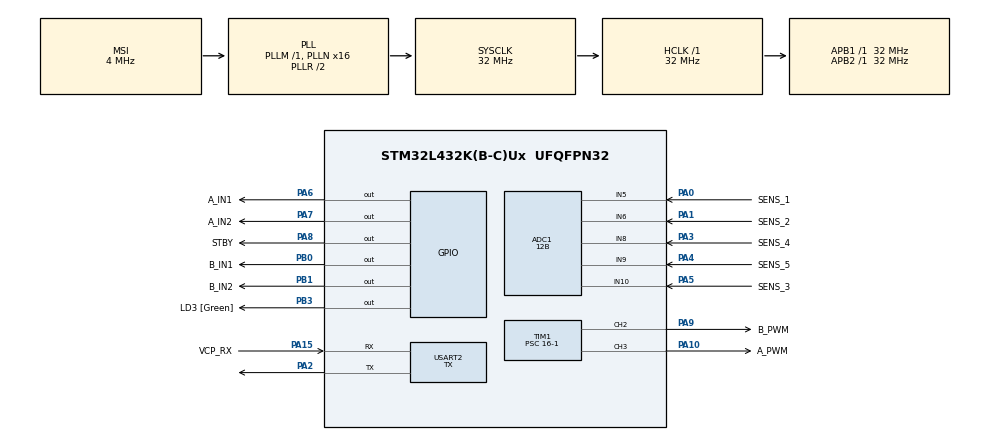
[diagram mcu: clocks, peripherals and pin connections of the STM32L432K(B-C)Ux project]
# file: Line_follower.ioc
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ADC1.Channel-10\#ChannelRegularConversion=ADC_CHANNEL_9
ADC1.Channel-2\#ChannelRegularConversion=ADC_CHANNEL_5
ADC1.Channel-3\#ChannelRegularConversion=ADC_CHANNEL_6
ADC1.Channel-8\#ChannelRegularConversion=ADC_CHANNEL_10
ADC1.Channel-9\#ChannelRegularConversion=ADC_CHANNEL_8
ADC1.ClockPrescaler=ADC_CLOCK_ASYNC_DIV8
ADC1.ContinuousConvMode=ENABLE
ADC1.DMAContinuousRequests=ENABLE
ADC1.NbrOfConversion=5
ADC1.NbrOfConversionFlag=1
ADC1.OffsetNumber-10\#ChannelRegularConversion=ADC_OFFSET_NONE
ADC1.OffsetNumber-2\#ChannelRegularConversion=ADC_OFFSET_NONE
ADC1.OffsetNumber-3\#ChannelRegularConversion=ADC_OFFSET_NONE
ADC1.OffsetNumber-8\#ChannelRegularConversion=ADC_OFFSET_NONE
ADC1.OffsetNumber-9\#ChannelRegularConversion=ADC_OFFSET_NONE
ADC1.Rank-10\#ChannelRegularConversion=5
ADC1.Rank-2\#ChannelRegularConversion=1
ADC1.Rank-3\#ChannelRegularConversion=2
ADC1.Rank-8\#ChannelRegularConversion=3
ADC1.Rank-9\#ChannelRegularConversion=4
ADC1.Resolution=ADC_RESOLUTION_12B
ADC1.SamplingTime-10\#ChannelRegularConversion=ADC_SAMPLETIME_247CYCLES_5
ADC1.SamplingTime-2\#ChannelRegularConversion=ADC_SAMPLETIME_247CYCLES_5
ADC1.SamplingTime-3\#ChannelRegularConversion=ADC_SAMPLETIME_247CYCLES_5
ADC1.SamplingTime-8\#ChannelRegularConversion=ADC_SAMPLETIME_247CYCLES_5
ADC1.SamplingTime-9\#ChannelRegularConversion=ADC_SAMPLETIME_247CYCLES_5
ADC1.master=1
Dma.ADC1.0.Direction=DMA_PERIPH_TO_MEMORY
Dma.ADC1.0.Instance=DMA1_Channel1
Dma.ADC1.0.MemDataAlignment=DMA_MDATAALIGN_HALFWORD
Dma.ADC1.0.MemInc=DMA_MINC_ENABLE
Dma.ADC1.0.Mode=DMA_CIRCULAR
Dma.ADC1.0.PeriphDataAlignment=DMA_PDATAALIGN_HALFWORD
Dma.ADC1.0.PeriphInc=DMA_PINC_DISABLE
Dma.ADC1.0.Priority=DMA_PRIORITY_LOW
Dma.Request0=ADC1
Mcu.Family=STM32L4
Mcu.Name=STM32L432K(B-C)Ux
Mcu.Package=UFQFPN32
NVIC.ADC1_IRQn=true\:0\:0\:false\:false\:true\:true\:true\:true
NVIC.DMA1_Channel1_IRQn=true\:0\:0\:false\:false\:true\:false\:true\:true
NVIC.PriorityGroup=NVIC_PRIORITYGROUP_4
NVIC.USART2_IRQn=true\:0\:0\:false\:false\:true\:true\:true\:true
PA0.GPIO_Label=SENS_1
PA0.Signal=ADCx_IN5
PA1.GPIO_Label=SENS_2
PA1.Signal=ADCx_IN6
PA10.GPIO_Label=A_PWM
PA10.Signal=S_TIM1_CH3
PA13\ (JTMS-SWDIO).GPIO_Label=SWDIO
PA13\ (JTMS-SWDIO).Mode=Serial_Wire
PA13\ (JTMS-SWDIO).Signal=SYS_JTMS-SWDIO
PA14\ (JTCK-SWCLK).GPIO_Label=SWCLK
PA14\ (JTCK-SWCLK).Mode=Serial_Wire
PA14\ (JTCK-SWCLK).Signal=SYS_JTCK-SWCLK
PA15\ (JTDI).GPIO_Label=VCP_RX
PA15\ (JTDI).Mode=Asynchronous
PA15\ (JTDI).Signal=USART2_RX
PA2.Mode=Asynchronous
PA2.Signal=USART2_TX
PA3.GPIO_Label=SENS_4
PA3.Signal=ADCx_IN8
PA4.GPIO_Label=SENS_5
PA4.Signal=ADCx_IN9
PA5.GPIO_Label=SENS_3
PA5.Signal=ADCx_IN10
PA6.GPIO_Label=A_IN1
PA6.Signal=GPIO_Output
PA7.GPIO_Label=A_IN2
PA7.Signal=GPIO_Output
PA8.GPIO_Label=STBY
PA8.Signal=GPIO_Output
PA9.GPIO_Label=B_PWM
PA9.Signal=S_TIM1_CH2
PB0.GPIO_Label=B_IN1
PB0.Signal=GPIO_Output
PB1.GPIO_Label=B_IN2
PB1.Signal=GPIO_Output
PB3\ (JTDO-TRACESWO).GPIO_Label=LD3 [Green]
PB3\ (JTDO-TRACESWO).Signal=GPIO_Output
PC14-OSC32_IN\ (PC14).Mode=LSE-External-Oscillator
PC14-OSC32_IN\ (PC14).Signal=RCC_OSC32_IN
PC15-OSC32_OUT\ (PC15).Mode=LSE-External-Oscillator
PC15-OSC32_OUT\ (PC15).Signal=RCC_OSC32_OUT
ProjectManager.HeapSize=0x200
ProjectManager.StackSize=0x400
ProjectManager.TargetToolchain=STM32CubeIDE
RCC.ADCFreq_Value=32000000
RCC.AHBFreq_Value=32000000
RCC.APB1Freq_Value=32000000
RCC.APB1TimFreq_Value=32000000
RCC.APB2Freq_Value=32000000
RCC.APB2TimFreq_Value=32000000
RCC.CortexFreq_Value=32000000
RCC.HCLKFreq_Value=32000000
RCC.HSE_VALUE=8000000
RCC.HSI16_VALUE=16000000
RCC.HSI48_VALUE=48000000
RCC.HSI_VALUE=16000000
RCC.MSI_VALUE=4000000
RCC.PLLMUL=RCC_PLLMUL_4
RCC.PLLN=16
RCC.PLLSAI1N=16
RCC.SYSCLKFreq_VALUE=32000000
RCC.SYSCLKSource=RCC_SYSCLKSOURCE_PLLCLK
RCC.USBFreq_Value=32000000
RCC.VCOOutputFreq_Value=64000000
SH.ADCx_IN10.0=ADC1_IN10,IN10-Single-Ended
SH.ADCx_IN5.0=ADC1_IN5,IN5-Single-Ended
SH.ADCx_IN6.0=ADC1_IN6,IN6-Single-Ended
SH.ADCx_IN8.0=ADC1_IN8,IN8-Single-Ended
SH.ADCx_IN9.0=ADC1_IN9,IN9-Single-Ended
SH.S_TIM1_CH2.0=TIM1_CH2,PWM Generation2 CH2
SH.S_TIM1_CH3.0=TIM1_CH3,PWM Generation3 CH3
TIM1.Channel-PWM\ Generation2\ CH2=TIM_CHANNEL_2
TIM1.Channel-PWM\ Generation3\ CH3=TIM_CHANNEL_3
TIM1.Period=100
TIM1.Prescaler=16-1
USART2.Mode=MODE_TX
USART2.OverSampling=UART_OVERSAMPLING_16
USART2.VirtualMode-Asynchronous=VM_ASYNC
VP_TIM2_VS_ClockSourceINT.Mode=Internal
board=NUCLEO-L432KC

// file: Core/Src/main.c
/* USER CODE BEGIN Header */
/**
  ******************************************************************************
  * @file           : main.c
  * @brief          : Main program body
  ******************************************************************************
  * @attention
  *
  * Copyright (c) 2023 STMicroelectronics.
  * All rights reserved.
  *
  * This software is licensed under terms that can be found in the LICENSE file
  * in the root directory of this software component.
  * If no LICENSE file comes with this software, it is provided AS-IS.
  *
  ******************************************************************************
  */
/* USER CODE END Header */
#include "main.h"

/* USER CODE BEGIN Includes */
#include "motor.h"
#include "string.h"
/* USER CODE END Includes */

/* USER CODE BEGIN PD */
#define THRESHOLD 2000
/* USER CODE END PD */

ADC_HandleTypeDef hadc1;
DMA_HandleTypeDef hdma_adc1;

TIM_HandleTypeDef htim1;
TIM_HandleTypeDef htim2;

UART_HandleTypeDef huart2;

/* USER CODE BEGIN PV */
volatile uint16_t Sensor[5];
char UartMessage[32];
/* USER CODE END PV */

void SystemClock_Config(void);
static void MX_GPIO_Init(void);
static void MX_DMA_Init(void);
static void MX_ADC1_Init(void);
static void MX_TIM1_Init(void);
static void MX_USART2_UART_Init(void);
static void MX_TIM2_Init(void);

/* USER CODE BEGIN 0 */
uint8_t adc_conv_complete_flag = 0;
/* USER CODE END 0 */

int main(void)
{

  /* MCU Configuration--------------------------------------------------------*/

  /* Reset of all peripherals, Initializes the Flash interface and the Systick. */
  HAL_Init();

  /* USER CODE BEGIN Init */
  void LineDetectionFeedback(void);

  /* USER CODE END Init */

  /* Configure the system clock */
  SystemClock_Config();

  /* Initialize all configured peripherals */
  MX_GPIO_Init();
  MX_DMA_Init();
  MX_ADC1_Init();
  MX_TIM1_Init();
  MX_USART2_UART_Init();
  MX_TIM2_Init();
  /* USER CODE BEGIN 2 */
  tb6612_init();
  HAL_ADC_Start_DMA(&hadc1,(uint32_t*) Sensor, 5);

  /* USER CODE END 2 */

  /* Infinite loop */
  /* USER CODE BEGIN WHILE */

   const uint8_t Docelowa=0;
   uint8_t Aktualna=0;

   int8_t Error=0;
   int8_t Zmiana;
   uint8_t array[5]={1,1,1,1,1};
   int8_t wages[5]={-2,-1,0,1,2};

//   motor_a_speed(15);
//   motor_b_speed(15);

   uint8_t Kp=20;
   uint8_t Tp=30;
  while (1)
  {
	  Aktualna = 0; // Ustawianie aktualnej pozycji
	  LineDetectionFeedback(); // switch led on

	  for (uint8_t i = 0; i < 5; ++i) {
		if (Sensor[i]>THRESHOLD) {
			Aktualna += wages[i]; //Obliczanie rzeczywistej pozycji
		}
	  }
	  Error = Docelowa + Aktualna;
	  Zmiana=Kp*Error;
	  motor_a_speed(Tp-Zmiana);
	  motor_b_speed(Tp+Zmiana);

//	  sprintf((char*)UartMessage, "S0: %d, S1: %d, S2: %d, S3: %d, S4: %d Zmiana:%d || Error:%d\n\r", wages[0], wages[1], wages[2], wages[3], wages[4],Zmiana, Error);
//	  HAL_UART_Transmit(&huart2, (uint8_t*)UartMessage, strlen(UartMessage), HAL_MAX_DELAY);

    /* USER CODE END WHILE */

  }
}

void SystemClock_Config(void)
{
  RCC_OscInitTypeDef RCC_OscInitStruct = {0};
  RCC_ClkInitTypeDef RCC_ClkInitStruct = {0};

  /** Configure the main internal regulator output voltage
  */
  if (HAL_PWREx_ControlVoltageScaling(PWR_REGULATOR_VOLTAGE_SCALE1) != HAL_OK)
  {
    Error_Handler();
  }

  /** Configure LSE Drive Capability
  */
  HAL_PWR_EnableBkUpAccess();
  __HAL_RCC_LSEDRIVE_CONFIG(RCC_LSEDRIVE_LOW);

  /** Initializes the RCC Oscillators according to the specified parameters
  * in the RCC_OscInitTypeDef structure.
  */
  RCC_OscInitStruct.OscillatorType = RCC_OSCILLATORTYPE_LSE|RCC_OSCILLATORTYPE_MSI;
  RCC_OscInitStruct.LSEState = RCC_LSE_ON;
  RCC_OscInitStruct.MSIState = RCC_MSI_ON;
  RCC_OscInitStruct.MSICalibrationValue = 0;
  RCC_OscInitStruct.MSIClockRange = RCC_MSIRANGE_6;
  RCC_OscInitStruct.PLL.PLLState = RCC_PLL_ON;
  RCC_OscInitStruct.PLL.PLLSource = RCC_PLLSOURCE_MSI;
  RCC_OscInitStruct.PLL.PLLM = 1;
  RCC_OscInitStruct.PLL.PLLN = 16;
  RCC_OscInitStruct.PLL.PLLP = RCC_PLLP_DIV7;
  RCC_OscInitStruct.PLL.PLLQ = RCC_PLLQ_DIV2;
  RCC_OscInitStruct.PLL.PLLR = RCC_PLLR_DIV2;
  if (HAL_RCC_OscConfig(&RCC_OscInitStruct) != HAL_OK)
  {
    Error_Handler();
  }

  /** Initializes the CPU, AHB and APB buses clocks
  */
  RCC_ClkInitStruct.ClockType = RCC_CLOCKTYPE_HCLK|RCC_CLOCKTYPE_SYSCLK
                              |RCC_CLOCKTYPE_PCLK1|RCC_CLOCKTYPE_PCLK2;
  RCC_ClkInitStruct.SYSCLKSource = RCC_SYSCLKSOURCE_PLLCLK;
  RCC_ClkInitStruct.AHBCLKDivider = RCC_SYSCLK_DIV1;
  RCC_ClkInitStruct.APB1CLKDivider = RCC_HCLK_DIV1;
  RCC_ClkInitStruct.APB2CLKDivider = RCC_HCLK_DIV1;

  if (HAL_RCC_ClockConfig(&RCC_ClkInitStruct, FLASH_LATENCY_1) != HAL_OK)
  {
    Error_Handler();
  }

  /** Enable MSI Auto calibration
  */
  HAL_RCCEx_EnableMSIPLLMode();
}

static void MX_ADC1_Init(void)
{

  ADC_ChannelConfTypeDef sConfig = {0};

  /** Common config
  */
  hadc1.Instance = ADC1;
  hadc1.Init.ClockPrescaler = ADC_CLOCK_ASYNC_DIV8;
  hadc1.Init.Resolution = ADC_RESOLUTION_12B;
  hadc1.Init.DataAlign = ADC_DATAALIGN_RIGHT;
  hadc1.Init.ScanConvMode = ADC_SCAN_ENABLE;
  hadc1.Init.EOCSelection = ADC_EOC_SINGLE_CONV;
  hadc1.Init.LowPowerAutoWait = DISABLE;
  hadc1.Init.ContinuousConvMode = ENABLE;
  hadc1.Init.NbrOfConversion = 5;
  hadc1.Init.DiscontinuousConvMode = DISABLE;
  hadc1.Init.ExternalTrigConv = ADC_SOFTWARE_START;
  hadc1.Init.ExternalTrigConvEdge = ADC_EXTERNALTRIGCONVEDGE_NONE;
  hadc1.Init.DMAContinuousRequests = ENABLE;
  hadc1.Init.Overrun = ADC_OVR_DATA_PRESERVED;
  hadc1.Init.OversamplingMode = DISABLE;
  if (HAL_ADC_Init(&hadc1) != HAL_OK)
  {
    Error_Handler();
  }

  /** Configure Regular Channel
  */
  sConfig.Channel = ADC_CHANNEL_5;
  sConfig.Rank = ADC_REGULAR_RANK_1;
  sConfig.SamplingTime = ADC_SAMPLETIME_247CYCLES_5;
  sConfig.SingleDiff = ADC_SINGLE_ENDED;
  sConfig.OffsetNumber = ADC_OFFSET_NONE;
  sConfig.Offset = 0;
  if (HAL_ADC_ConfigChannel(&hadc1, &sConfig) != HAL_OK)
  {
    Error_Handler();
  }

  /** Configure Regular Channel
  */
  sConfig.Channel = ADC_CHANNEL_6;
  sConfig.Rank = ADC_REGULAR_RANK_2;
  if (HAL_ADC_ConfigChannel(&hadc1, &sConfig) != HAL_OK)
  {
    Error_Handler();
  }

  /** Configure Regular Channel
  */
  sConfig.Channel = ADC_CHANNEL_10;
  sConfig.Rank = ADC_REGULAR_RANK_3;
  if (HAL_ADC_ConfigChannel(&hadc1, &sConfig) != HAL_OK)
  {
    Error_Handler();
  }

  /** Configure Regular Channel
  */
  sConfig.Channel = ADC_CHANNEL_8;
  sConfig.Rank = ADC_REGULAR_RANK_4;
  if (HAL_ADC_ConfigChannel(&hadc1, &sConfig) != HAL_OK)
  {
    Error_Handler();
  }

  /** Configure Regular Channel
  */
  sConfig.Channel = ADC_CHANNEL_9;
  sConfig.Rank = ADC_REGULAR_RANK_5;
  if (HAL_ADC_ConfigChannel(&hadc1, &sConfig) != HAL_OK)
  {
    Error_Handler();
  }

}

static void MX_TIM1_Init(void)
{

  TIM_MasterConfigTypeDef sMasterConfig = {0};
  TIM_OC_InitTypeDef sConfigOC = {0};
  TIM_BreakDeadTimeConfigTypeDef sBreakDeadTimeConfig = {0};

  htim1.Instance = TIM1;
  htim1.Init.Prescaler = 16-1;
  htim1.Init.CounterMode = TIM_COUNTERMODE_UP;
  htim1.Init.Period = 100;
  htim1.Init.ClockDivision = TIM_CLOCKDIVISION_DIV1;
  htim1.Init.RepetitionCounter = 0;
  htim1.Init.AutoReloadPreload = TIM_AUTORELOAD_PRELOAD_DISABLE;
  if (HAL_TIM_PWM_Init(&htim1) != HAL_OK)
  {
    Error_Handler();
  }
  sMasterConfig.MasterOutputTrigger = TIM_TRGO_RESET;
  sMasterConfig.MasterOutputTrigger2 = TIM_TRGO2_RESET;
  sMasterConfig.MasterSlaveMode = TIM_MASTERSLAVEMODE_DISABLE;
  if (HAL_TIMEx_MasterConfigSynchronization(&htim1, &sMasterConfig) != HAL_OK)
  {
    Error_Handler();
  }
  sConfigOC.OCMode = TIM_OCMODE_PWM1;
  sConfigOC.Pulse = 0;
  sConfigOC.OCPolarity = TIM_OCPOLARITY_HIGH;
  sConfigOC.OCNPolarity = TIM_OCNPOLARITY_HIGH;
  sConfigOC.OCFastMode = TIM_OCFAST_DISABLE;
  sConfigOC.OCIdleState = TIM_OCIDLESTATE_RESET;
  sConfigOC.OCNIdleState = TIM_OCNIDLESTATE_RESET;
  if (HAL_TIM_PWM_ConfigChannel(&htim1, &sConfigOC, TIM_CHANNEL_2) != HAL_OK)
  {
    Error_Handler();
  }
  if (HAL_TIM_PWM_ConfigChannel(&htim1, &sConfigOC, TIM_CHANNEL_3) != HAL_OK)
  {
    Error_Handler();
  }
  sBreakDeadTimeConfig.OffStateRunMode = TIM_OSSR_DISABLE;
  sBreakDeadTimeConfig.OffStateIDLEMode = TIM_OSSI_DISABLE;
  sBreakDeadTimeConfig.LockLevel = TIM_LOCKLEVEL_OFF;
  sBreakDeadTimeConfig.DeadTime = 0;
  sBreakDeadTimeConfig.BreakState = TIM_BREAK_DISABLE;
  sBreakDeadTimeConfig.BreakPolarity = TIM_BREAKPOLARITY_HIGH;
  sBreakDeadTimeConfig.BreakFilter = 0;
  sBreakDeadTimeConfig.Break2State = TIM_BREAK2_DISABLE;
  sBreakDeadTimeConfig.Break2Polarity = TIM_BREAK2POLARITY_HIGH;
  sBreakDeadTimeConfig.Break2Filter = 0;
  sBreakDeadTimeConfig.AutomaticOutput = TIM_AUTOMATICOUTPUT_DISABLE;
  if (HAL_TIMEx_ConfigBreakDeadTime(&htim1, &sBreakDeadTimeConfig) != HAL_OK)
  {
    Error_Handler();
  }
  HAL_TIM_MspPostInit(&htim1);

}

static void MX_TIM2_Init(void)
{

  TIM_ClockConfigTypeDef sClockSourceConfig = {0};
  TIM_MasterConfigTypeDef sMasterConfig = {0};

  htim2.Instance = TIM2;
  htim2.Init.Prescaler = 0;
  htim2.Init.CounterMode = TIM_COUNTERMODE_UP;
  htim2.Init.Period = 4294967295;
  htim2.Init.ClockDivision = TIM_CLOCKDIVISION_DIV1;
  htim2.Init.AutoReloadPreload = TIM_AUTORELOAD_PRELOAD_DISABLE;
  if (HAL_TIM_Base_Init(&htim2) != HAL_OK)
  {
    Error_Handler();
  }
  sClockSourceConfig.ClockSource = TIM_CLOCKSOURCE_INTERNAL;
  if (HAL_TIM_ConfigClockSource(&htim2, &sClockSourceConfig) != HAL_OK)
  {
    Error_Handler();
  }
  sMasterConfig.MasterOutputTrigger = TIM_TRGO_RESET;
  sMasterConfig.MasterSlaveMode = TIM_MASTERSLAVEMODE_DISABLE;
  if (HAL_TIMEx_MasterConfigSynchronization(&htim2, &sMasterConfig) != HAL_OK)
  {
    Error_Handler();
  }

}

static void MX_USART2_UART_Init(void)
{

  huart2.Instance = USART2;
  huart2.Init.BaudRate = 115200;
  huart2.Init.WordLength = UART_WORDLENGTH_8B;
  huart2.Init.StopBits = UART_STOPBITS_1;
  huart2.Init.Parity = UART_PARITY_NONE;
  huart2.Init.Mode = UART_MODE_TX;
  huart2.Init.HwFlowCtl = UART_HWCONTROL_NONE;
  huart2.Init.OverSampling = UART_OVERSAMPLING_16;
  huart2.Init.OneBitSampling = UART_ONE_BIT_SAMPLE_DISABLE;
  huart2.AdvancedInit.AdvFeatureInit = UART_ADVFEATURE_NO_INIT;
  if (HAL_UART_Init(&huart2) != HAL_OK)
  {
    Error_Handler();
  }

}

static void MX_DMA_Init(void)
{

  /* DMA controller clock enable */
  __HAL_RCC_DMA1_CLK_ENABLE();

  /* DMA interrupt init */
  /* DMA1_Channel1_IRQn interrupt configuration */
  HAL_NVIC_SetPriority(DMA1_Channel1_IRQn, 0, 0);
  HAL_NVIC_EnableIRQ(DMA1_Channel1_IRQn);

}

static void MX_GPIO_Init(void)
{
  GPIO_InitTypeDef GPIO_InitStruct = {0};

  /* GPIO Ports Clock Enable */
  __HAL_RCC_GPIOC_CLK_ENABLE();
  __HAL_RCC_GPIOA_CLK_ENABLE();
  __HAL_RCC_GPIOB_CLK_ENABLE();

  /*Configure GPIO pin Output Level */
  HAL_GPIO_WritePin(GPIOA, A_IN1_Pin|A_IN2_Pin|STBY_Pin, GPIO_PIN_RESET);

  /*Configure GPIO pin Output Level */
  HAL_GPIO_WritePin(GPIOB, B_IN1_Pin|B_IN2_Pin|LD3_Pin, GPIO_PIN_RESET);

  /*Configure GPIO pins : A_IN1_Pin A_IN2_Pin STBY_Pin */
  GPIO_InitStruct.Pin = A_IN1_Pin|A_IN2_Pin|STBY_Pin;
  GPIO_InitStruct.Mode = GPIO_MODE_OUTPUT_PP;
  GPIO_InitStruct.Pull = GPIO_NOPULL;
  GPIO_InitStruct.Speed = GPIO_SPEED_FREQ_LOW;
  HAL_GPIO_Init(GPIOA, &GPIO_InitStruct);

  /*Configure GPIO pins : B_IN1_Pin B_IN2_Pin LD3_Pin */
  GPIO_InitStruct.Pin = B_IN1_Pin|B_IN2_Pin|LD3_Pin;
  GPIO_InitStruct.Mode = GPIO_MODE_OUTPUT_PP;
  GPIO_InitStruct.Pull = GPIO_NOPULL;
  GPIO_InitStruct.Speed = GPIO_SPEED_FREQ_LOW;
  HAL_GPIO_Init(GPIOB, &GPIO_InitStruct);

}

/* USER CODE BEGIN 4 */
void LineDetectionFeedback(void){
	if (Sensor[0]>THRESHOLD ||
		Sensor[1]>THRESHOLD ||
		Sensor[2]>THRESHOLD ||
		Sensor[3]>THRESHOLD ||
		Sensor[4]>THRESHOLD) {
		HAL_GPIO_WritePin(LD3_GPIO_Port, LD3_Pin, GPIO_PIN_SET);
	}else{
		HAL_GPIO_WritePin(LD3_GPIO_Port, LD3_Pin, GPIO_PIN_RESET);
	}

}
/* USER CODE END 4 */

void Error_Handler(void)
{
  __disable_irq();
  while (1)
  {
  }
}
